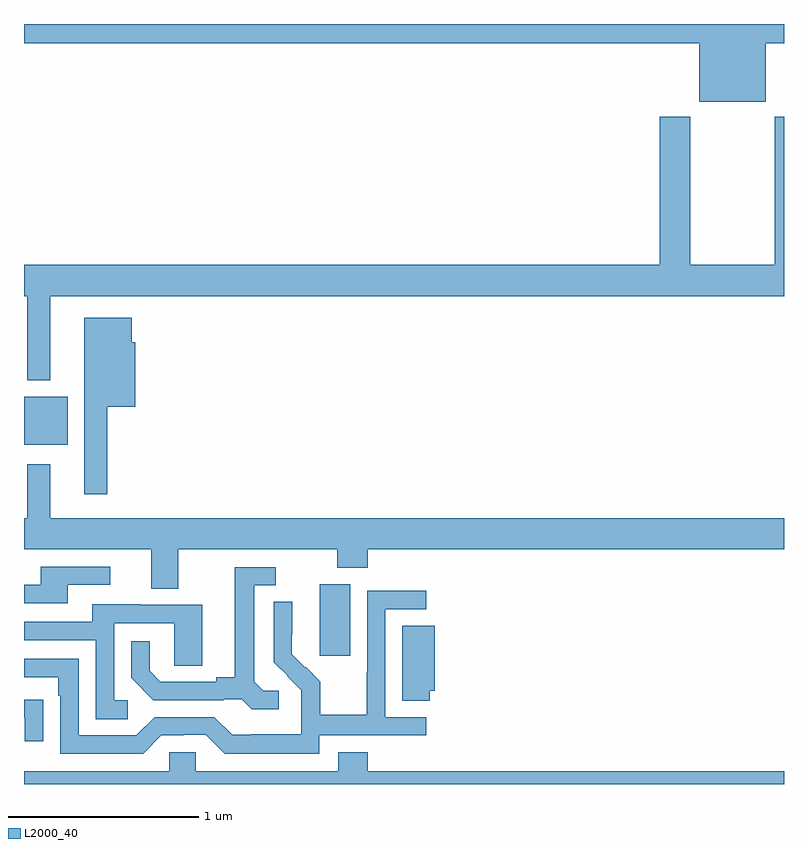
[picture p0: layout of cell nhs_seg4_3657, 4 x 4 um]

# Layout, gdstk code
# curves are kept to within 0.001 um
import gdstk
lib = gdstk.Library(unit=1e-6, precision=1e-09)
def R(c, l, rs):  # rectangles x0, y0, x1, y1
    for r in rs: c.add(gdstk.rectangle(r[:2], r[2:], *l))
def P(c, l, *ps):  # polygons
    for p in ps: c.add(gdstk.Polygon(p, *l))
L2000_40 = (2000, 40)

nhs_seg4_3657 = lib.new_cell('nhs_seg4_3657')
R(nhs_seg4_3657, L2000_40, [(304.556,813.576,304.717,813.952)])
P(nhs_seg4_3657, L2000_40, [(306.904,816.8),(307,816.8),(307,816.9),(303,816.9),(303,816.8),(306.554,816.8),(306.554,816.491),(306.904,816.491)],
  [(303.139,815.468),(307,815.468),(307,816.412),(306.952,816.412),(306.952,815.632),(306.507,815.632),(306.507,816.412),(306.347,816.412),(306.347,815.632),(303,815.632),(303,815.468),(303.018,815.468),(303.018,815.024),(303.139,815.024)],
  [(303.439,814.886),(303.586,814.886),(303.586,815.226),(303.568,815.226),(303.568,815.353),(303.317,815.353),(303.317,814.425),(303.439,814.425)],
  [(303.229,814.939),(303.002,814.939),(303.002,814.85),(303,814.85),(303,814.708),(303.002,814.708),(303.002,814.685),(303.229,814.685)],
  [(303.811,814.136),(304.648,814.136),(304.648,814.037),(304.808,814.037),(304.808,814.136),(307,814.136),(307,814.3),(303.139,814.3),(303.139,814.582),(303.018,814.582),(303.018,814.3),(303,814.3),(303,814.136),(303.671,814.136),(303.671,813.928),(303.811,813.928)],
  [(303.229,813.948),(303.454,813.948),(303.454,814.044),(303.089,814.044),(303.089,813.948),(303,813.948),(303,813.852),(303.229,813.852)],
  [(304.342,813.39),(304.26,813.39),(304.213,813.437),(304.213,813.945),(304.324,813.945),(304.324,814.041),(304.109,814.041),(304.109,813.461),(304.013,813.461),(304.013,813.438),(303.718,813.438),(303.661,813.495),(303.661,813.652),(303.564,813.652),(303.564,813.458),(303.68,813.342),(304.052,813.342),(304.052,813.345),(304.146,813.345),(304.198,813.293),(304.342,813.293)],
  [(304.554,813.156),(305.116,813.156),(305.116,813.252),(304.902,813.252),(304.902,813.819),(305.116,813.819),(305.116,813.918),(304.806,813.918),(304.806,813.488),(304.804,813.488),(304.804,813.265),(304.559,813.265),(304.559,813.439),(304.482,813.516),(304.479,813.513),(304.409,813.584),(304.409,813.688),(304.411,813.688),(304.411,813.86),(304.314,813.86),(304.314,813.542),(304.46,813.394),(304.46,813.297),(304.458,813.297),(304.458,813.163),(304.195,813.163),(304.195,813.159),(304.095,813.159),(304.002,813.252),(303.687,813.252),(303.591,813.156),(303.288,813.156),(303.288,813.558),(303,813.558),(303,813.462),(303.179,813.462),(303.179,813.365),(303.192,813.365),(303.192,813.06),(303.627,813.06),(303.723,813.156),(303.842,813.156),(303.842,813.159),(303.957,813.159),(304.057,813.059),(304.554,813.059)],
  [(303.547,813.342),(303.474,813.342),(303.474,813.747),(303.792,813.747),(303.792,813.523),(303.937,813.523),(303.937,813.843),(303.613,813.843),(303.613,813.847),(303.359,813.847),(303.359,813.753),(303,813.753),(303,813.657),(303.378,813.657),(303.378,813.241),(303.547,813.241)],
  [(305.135,813.39),(305.162,813.39),(305.162,813.734),(304.991,813.734),(304.991,813.337),(305.135,813.337)],
  [(303.101,813.344),(303,813.344),(303,813.249),(303.005,813.249),(303.005,813.126),(303.101,813.126)],
  [(307,812.968),(304.808,812.968),(304.808,813.067),(304.655,813.067),(304.655,812.968),(303.903,812.968),(303.903,813.066),(303.765,813.066),(303.765,812.968),(303,812.968),(303,812.9),(307,812.9)])

lib.write_gds('nhs_seg4_3657.gds')
